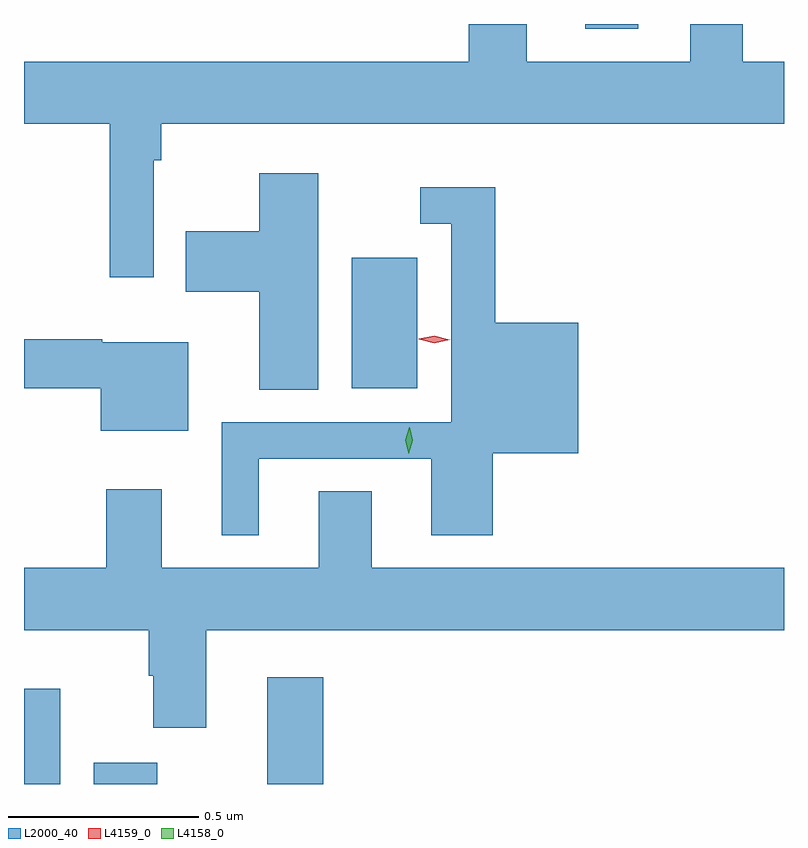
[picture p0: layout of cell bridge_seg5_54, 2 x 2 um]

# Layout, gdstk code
import gdstk
lib = gdstk.Library(unit=1e-6, precision=1e-09)
def R(c, l, rs):  # rectangles x0, y0, x1, y1
    for r in rs: c.add(gdstk.rectangle(r[:2], r[2:], *l))
def P(c, l, *ps):  # polygons
    for p in ps: c.add(gdstk.Polygon(p, *l))
L2000_40 = (2000, 40)
L4158_0 = (4158, 0)
L4159_0 = (4159, 0)

bridge_seg5_54 = lib.new_cell('bridge_seg5_54')
R(bridge_seg5_54, L2000_40, [(725.704,885.659,725.799,885.91), (725.888,885.659,726.055,885.715), (726.344,885.659,726.491,885.94), (726.566,886.7,726.739,887.044), (727.181,887.646,727.321,887.659)])
P(bridge_seg5_54, L2000_40, [(726.045,887.3),(726.065,887.3),(726.065,887.396),(727.704,887.396),(727.704,887.56),(727.596,887.56),(727.596,887.659),(727.457,887.659),(727.457,887.56),(727.027,887.56),(727.027,887.659),(726.875,887.659),(726.875,887.56),(725.704,887.56),(725.704,887.396),(725.929,887.396),(725.929,886.992),(726.045,886.992)],
  [(726.478,887.266),(726.323,887.266),(726.323,887.113),(726.13,887.113),(726.13,886.955),(726.323,886.955),(726.323,886.696),(726.478,886.696)],
  [(726.322,886.515),(726.776,886.515),(726.776,886.314),(726.938,886.314),(726.938,886.529),(727.162,886.529),(727.162,886.873),(726.944,886.873),(726.944,887.23),(726.747,887.23),(726.747,887.133),(726.828,887.133),(726.828,886.611),(726.224,886.611),(726.224,886.314),(726.322,886.314)],
  [(726.136,886.822),(725.91,886.822),(725.91,886.829),(725.704,886.829),(725.704,886.701),(725.906,886.701),(725.906,886.589),(726.136,886.589)],
  [(726.184,886.064),(727.704,886.064),(727.704,886.228),(726.619,886.228),(726.619,886.43),(726.479,886.43),(726.479,886.228),(726.067,886.228),(726.067,886.435),(725.92,886.435),(725.92,886.228),(725.704,886.228),(725.704,886.064),(726.032,886.064),(726.032,885.944),(726.044,885.944),(726.044,885.807),(726.184,885.807)])
P(bridge_seg5_54, L4158_0, [(726.716,886.528),(726.716,886.528),(726.707,886.564),(726.718,886.598),(726.718,886.598),(726.719,886.598),(726.727,886.563),(726.716,886.528)])
P(bridge_seg5_54, L4159_0, [(726.783,886.819),(726.743,886.83),(726.743,886.83),(726.743,886.831),(726.784,886.839),(726.824,886.828),(726.824,886.828),(726.824,886.828)])

lib.write_gds('bridge_seg5_54.gds')
